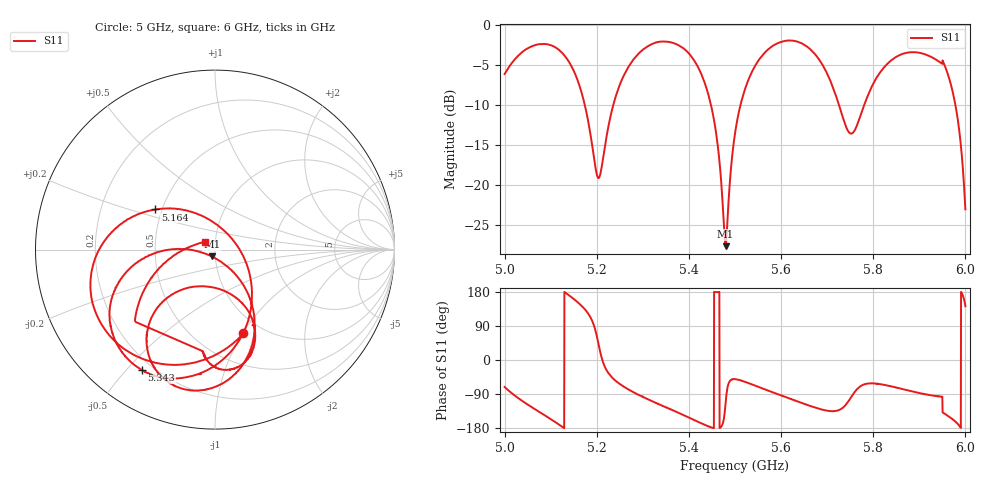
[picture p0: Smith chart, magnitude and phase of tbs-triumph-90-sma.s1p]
# HZ S RI R 50
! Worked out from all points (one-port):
!   2020 points, 5 GHz to 6 GHz, reference 50 ohm
!   lowest |S11| = -27.6 dB at 5.479 GHz (marker M1), VSWR 1.09, Z = 48.1 - j3.61 ohm
!   |S11| at or under -10 dB: 5.174 GHz to 5.236 GHz (61.86 MHz wide, 1.19 % of centre); 5.448 GHz to 5.512 GHz (64.03 MHz wide, 1.17 % of centre); 5.726 GHz to 5.78 GHz (54.85 MHz wide, 0.953 % of centre)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
!   S11 on the Smith chart (normalised r, x): 5 GHz: 0.82, -1.01; 5.164 GHz: 0.46, +0.25; 5.343 GHz: 0.16, -0.55; 6 GHz: 0.89, +0.08
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5e9  0.1582 -0.4665
5.029718e9  -0.1194 -0.6304
5.057454e9  -0.4009 -0.6094
5.095097e9  -0.6643 -0.3514
5.12531e9  -0.6644 -0.04
5.164438e9  -0.3316 0.2236
5.204062e9  0.0842 0.0721
5.250124e9  0.189 -0.3793
5.297672e9  -0.0721 -0.6848
5.343239e9  -0.4067 -0.6712
5.375434e9  -0.5591 -0.4989
5.409114e9  -0.5636 -0.2381
5.444775e9  -0.3432 -0.0235
5.46211e9  -0.1815 0.00266
5.479446e9  -0.0184 -0.0375
5.500248e9  0.1345 -0.1642
5.519069e9  0.2081 -0.313
5.546806e9  0.2048 -0.5356
5.586925e9  0.0308 -0.7514
5.625062e9  -0.2025 -0.7685
5.686479e9  -0.3755 -0.4464
5.750372e9  -0.0393 -0.2067
5.808321e9  0.2157 -0.4204
5.875186e9  0.1139 -0.6604
5.945023e9  -0.0655 -0.5793
5.955424e9  -0.4369 -0.3406
5.981675e9  -0.2701 -0.0648
6.000001e9  -0.0556 0.0438
